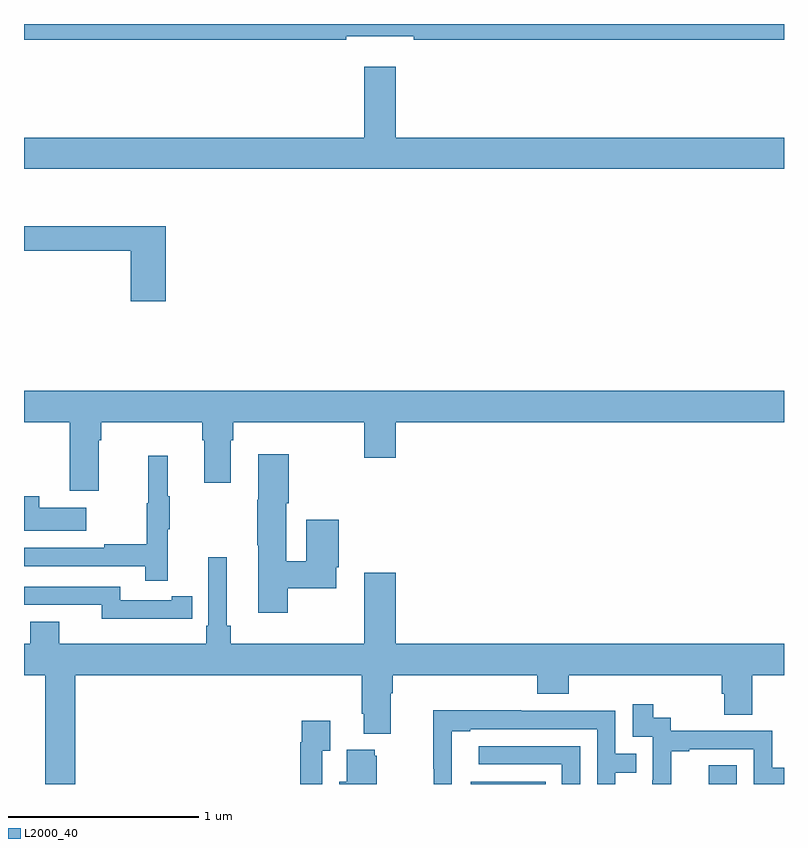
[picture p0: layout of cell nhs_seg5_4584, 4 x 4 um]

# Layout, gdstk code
import gdstk
lib = gdstk.Library(unit=1e-6, precision=1e-09)
def R(c, l, rs):  # rectangles x0, y0, x1, y1
    for r in rs: c.add(gdstk.rectangle(r[:2], r[2:], *l))
def P(c, l, *ps):  # polygons
    for p in ps: c.add(gdstk.Polygon(p, *l))
L2000_40 = (2000, 40)

nhs_seg5_4584 = lib.new_cell('nhs_seg5_4584')
R(nhs_seg5_4584, L2000_40, [(381.35,910.799,381.746,910.81), (382.605,910.799,382.752,910.897)])
P(nhs_seg5_4584, L2000_40, [(380.696,914.735),(381.052,914.735),(381.052,914.716),(383,914.716),(383,914.799),(379,914.799),(379,914.716),(380.696,914.716)],
  [(383,914.2),(380.956,914.2),(380.956,914.575),(380.792,914.575),(380.792,914.2),(379,914.2),(379,914.036),(383,914.036)],
  [(379.745,913.735),(379,913.735),(379,913.606),(379.562,913.606),(379.562,913.341),(379.745,913.341)],
  [(379.393,912.608),(379.406,912.608),(379.406,912.704),(379.937,912.704),(379.937,912.608),(379.949,912.608),(379.949,912.384),(380.089,912.384),(380.089,912.608),(380.102,912.608),(380.102,912.704),(380.792,912.704),(380.792,912.516),(380.956,912.516),(380.956,912.704),(383,912.704),(383,912.868),(379,912.868),(379,912.704),(379.241,912.704),(379.241,912.342),(379.393,912.342)],
  [(380.388,911.83),(380.644,911.83),(380.644,911.941),(380.657,911.941),(380.657,912.19),(380.486,912.19),(380.486,911.972),(380.38,911.972),(380.38,912.277),(380.393,912.277),(380.393,912.535),(380.234,912.535),(380.234,912.296),(380.227,912.296),(380.227,912.055),(380.234,912.055),(380.234,911.7),(380.388,911.7)],
  [(379.757,912.139),(379.768,912.139),(379.768,912.313),(379.757,912.313),(379.757,912.526),(379.654,912.526),(379.654,912.276),(379.647,912.276),(379.647,912.062),(379.423,912.062),(379.423,912.042),(379,912.042),(379,911.946),(379.639,911.946),(379.639,911.868),(379.757,911.868)],
  [(379.327,912.253),(379.079,912.253),(379.079,912.313),(379,912.313),(379,912.131),(379.327,912.131)],
  [(380.087,911.632),(380.068,911.632),(380.068,911.992),(379.971,911.992),(379.971,911.632),(379.958,911.632),(379.958,911.536),(379.186,911.536),(379.186,911.653),(379.034,911.653),(379.034,911.536),(379,911.536),(379,911.372),(379.111,911.372),(379.111,910.799),(379.271,910.799),(379.271,911.372),(380.777,911.372),(380.777,911.17),(380.789,911.17),(380.789,911.063),(380.929,911.063),(380.929,911.276),(380.942,911.276),(380.942,911.372),(381.701,911.372),(381.701,911.273),(381.866,911.273),(381.866,911.372),(382.673,911.372),(382.673,911.274),(382.685,911.274),(382.685,911.164),(382.833,911.164),(382.833,911.372),(383,911.372),(383,911.536),(380.956,911.536),(380.956,911.911),(380.792,911.911),(380.792,911.536),(380.087,911.536)],
  [(379.778,911.67),(379.886,911.67),(379.886,911.786),(379.778,911.786),(379.778,911.766),(379.506,911.766),(379.506,911.838),(379,911.838),(379,911.742),(379.41,911.742),(379.41,911.669),(379.778,911.669)],
  [(382.406,910.971),(382.501,910.971),(382.501,910.983),(382.842,910.983),(382.842,910.799),(383,910.799),(383,910.884),(382.938,910.884),(382.938,911.079),(382.404,911.079),(382.404,911.148),(382.312,911.148),(382.312,911.218),(382.203,911.218),(382.203,911.049),(382.308,911.049),(382.308,910.82),(382.307,910.82),(382.307,910.799),(382.406,910.799)],
  [(381.252,911.076),(381.349,911.076),(381.349,911.088),(382.017,911.088),(382.017,910.799),(382.113,910.799),(382.113,910.858),(382.223,910.858),(382.223,910.959),(382.113,910.959),(382.113,911.184),(381.617,911.184),(381.617,911.186),(381.154,911.186),(381.154,910.879),(381.156,910.879),(381.156,910.799),(381.252,910.799)],
  [(380.571,910.975),(380.611,910.975),(380.611,911.131),(380.463,911.131),(380.463,911.018),(380.455,911.018),(380.455,910.799),(380.571,910.799)],
  [(381.927,910.998),(381.393,910.998),(381.393,910.902),(381.831,910.902),(381.831,910.799),(381.927,910.799)],
  [(380.857,910.947),(380.846,910.947),(380.846,910.978),(380.699,910.978),(380.699,910.81),(380.66,910.81),(380.66,910.799),(380.857,910.799)])

lib.write_gds('nhs_seg5_4584.gds')
